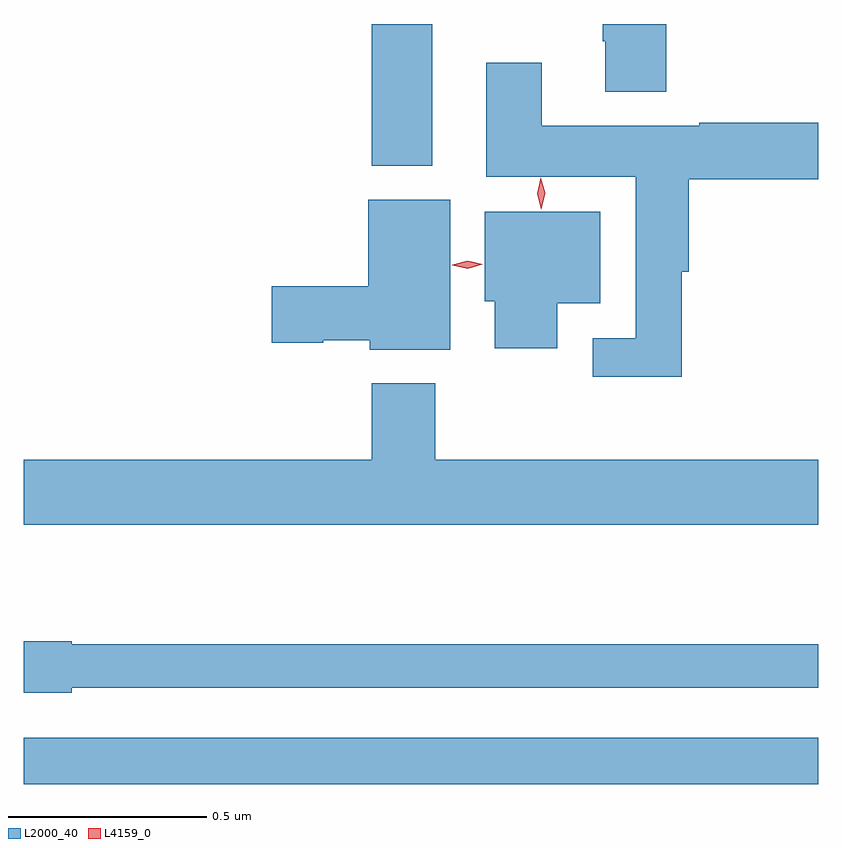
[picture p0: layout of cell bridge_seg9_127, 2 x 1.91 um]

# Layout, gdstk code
import gdstk
lib = gdstk.Library(unit=1e-6, precision=1e-09)
def R(c, l, rs):  # rectangles x0, y0, x1, y1
    for r in rs: c.add(gdstk.rectangle(r[:2], r[2:], *l))
def P(c, l, *ps):  # polygons
    for p in ps: c.add(gdstk.Polygon(p, *l))
L2000_40 = (2000, 40)
L4159_0 = (4159, 0)

bridge_seg9_127 = lib.new_cell('bridge_seg9_127')
R(bridge_seg9_127, L2000_40, [(478.619,1242.388,480.619,1242.504), (479.495,1243.943,479.647,1244.3)])
P(bridge_seg9_127, L2000_40, [(480.236,1244.3),(480.076,1244.3),(480.076,1244.256),(480.083,1244.256),(480.083,1244.129),(480.236,1244.129)],
  [(480.275,1243.677),(480.293,1243.677),(480.293,1243.91),(480.619,1243.91),(480.619,1244.052),(480.319,1244.052),(480.319,1244.044),(479.923,1244.044),(479.923,1244.203),(479.783,1244.203),(479.783,1243.916),(480.159,1243.916),(480.159,1243.509),(480.051,1243.509),(480.051,1243.412),(480.275,1243.412)],
  [(479.692,1243.858),(479.486,1243.858),(479.486,1243.64),(479.244,1243.64),(479.244,1243.498),(479.373,1243.498),(479.373,1243.505),(479.49,1243.505),(479.49,1243.481),(479.692,1243.481)],
  [(479.962,1243.598),(480.07,1243.598),(480.07,1243.828),(479.78,1243.828),(479.78,1243.602),(479.804,1243.602),(479.804,1243.484),(479.962,1243.484)],
  [(480.619,1243.204),(479.655,1243.204),(479.655,1243.396),(479.495,1243.396),(479.495,1243.204),(478.619,1243.204),(478.619,1243.04),(480.619,1243.04)],
  [(478.74,1242.63),(480.619,1242.63),(480.619,1242.739),(478.74,1242.739),(478.74,1242.747),(478.619,1242.747),(478.619,1242.617),(478.74,1242.617)])
P(bridge_seg9_127, L4159_0, [(479.921,1243.834),(479.921,1243.834),(479.911,1243.873),(479.92,1243.913),(479.92,1243.913),(479.92,1243.913),(479.931,1243.874),(479.922,1243.834)],
  [(479.736,1243.684),(479.698,1243.693),(479.698,1243.694),(479.698,1243.694),(479.736,1243.704),(479.774,1243.696),(479.774,1243.695),(479.774,1243.695)])

lib.write_gds('bridge_seg9_127.gds')
